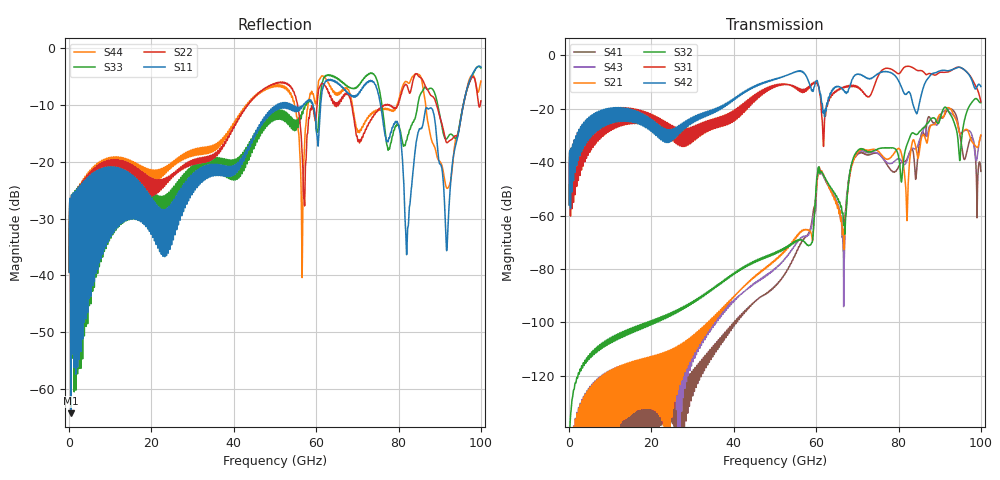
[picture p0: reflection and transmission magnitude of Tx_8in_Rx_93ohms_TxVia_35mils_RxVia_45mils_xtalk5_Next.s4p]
! Info: Touchstone file created by Circ.  Input file=Tx_8in_Rx_93ohms_TxVia_35mils_RxVia_45mils.circ
# Hz S RI R 50
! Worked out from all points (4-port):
!   10000 points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, 10 MHz to 100 GHz, reference 50 ohm
!   strongest paths, dB at 10 MHz, 25.01 GHz, 50.01 GHz, 75.01 GHz, 100 GHz:
!     S42: -56.0, -27.8, -8.9, -6.9, -11.7
!     S31: -55.9, -26.3, -11.3, -7.9, -17.3
!     S32: -162.3, -96.4, -74.4, -35.1, -17.7
!     S21: -175.6, -115.4, -76.9, -35.8, -29.8
!     S43: -175.6, -113.9, -80.1, -36.7, -30.2
!     S41: -181.1, -128.0, -86.4, -36.8, -43.4
!   lowest |S11| = -64.3 dB at 410 MHz (marker M1), VSWR 1.00, Z = 50 + j0.0371 ohm
!   |S11| at or under -10 dB: start of sweep to 50.2 GHz; 54.23 GHz to 56.87 GHz (2.642 GHz wide, 4.76 % of centre); 75.66 GHz to 95.73 GHz (20.07 GHz wide, 23.4 % of centre) (the widest 3 of 14)
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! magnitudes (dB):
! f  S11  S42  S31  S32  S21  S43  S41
! 10 MHz  -39.5  -56.0  -55.9  -162.3  -175.6  -175.6  -181.1
! 410 MHz  -64.3  -40.6  -40.6  -134.1  -148.1  -148.0  -154.2
! 58.33 GHz  -9.0  -10.4  -12.2  -71.1  -65.7  -66.6  -66.1
! 60.77 GHz  -14.0  -13.0  -13.3  -42.2  -41.9  -42.4  -42.3
! 66.62 GHz  -7.0  -13.1  -11.8  -62.1  -66.3  -75.5  -73.2
! 91.74 GHz  -35.5  -5.8  -6.3  -20.0  -19.8  -20.6  -20.6
! 100 GHz  -3.3  -11.7  -17.3  -17.7  -29.8  -30.2  -43.4
